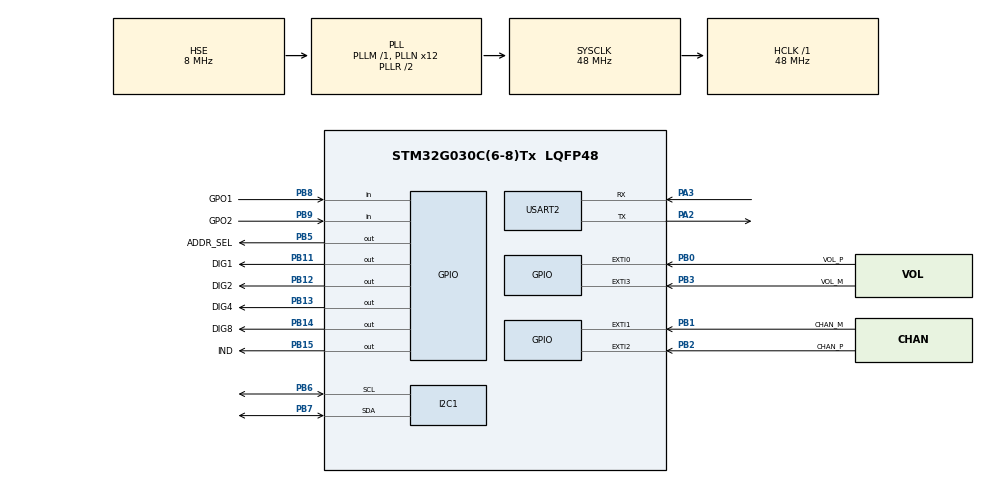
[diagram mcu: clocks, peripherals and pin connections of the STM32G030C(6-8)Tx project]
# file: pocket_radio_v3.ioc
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I2C1.Timing=0x10805D88
Mcu.Family=STM32G0
Mcu.Name=STM32G030C(6-8)Tx
Mcu.Package=LQFP48
NVIC.EXTI0_1_IRQn=true\:0\:0\:false\:false\:true\:true\:true\:true
NVIC.EXTI2_3_IRQn=true\:0\:0\:false\:false\:true\:true\:true\:true
PA0.Signal=USART2_CTS
PA1.Signal=USART2_RTS
PA13.Mode=Serial_Wire
PA13.Signal=SYS_SWDIO
PA14-BOOT0.Mode=Serial_Wire
PA14-BOOT0.Signal=SYS_SWCLK
PA2.Mode=Asynchronous
PA2.Signal=USART2_TX
PA3.Mode=Asynchronous
PA3.Signal=USART2_RX
PB0.GPIO_Label=VOL_P
PB0.GPIO_ModeDefaultEXTI=GPIO_MODE_IT_FALLING
PB0.GPIO_PuPd=GPIO_PULLUP
PB0.Signal=GPXTI0
PB1.GPIO_Label=CHAN_M
PB1.GPIO_ModeDefaultEXTI=GPIO_MODE_IT_FALLING
PB1.GPIO_PuPd=GPIO_PULLUP
PB1.Signal=GPXTI1
PB11.GPIO_Label=DIG1
PB11.Signal=GPIO_Output
PB12.GPIO_Label=DIG2
PB12.Signal=GPIO_Output
PB13.GPIO_Label=DIG4
PB13.Signal=GPIO_Output
PB14.GPIO_Label=DIG8
PB14.Signal=GPIO_Output
PB15.GPIO_Label=IND
PB15.Signal=GPIO_Output
PB2.GPIO_Label=CHAN_P
PB2.GPIO_ModeDefaultEXTI=GPIO_MODE_IT_FALLING
PB2.GPIO_PuPd=GPIO_PULLUP
PB2.Signal=GPXTI2
PB3.GPIO_Label=VOL_M
PB3.GPIO_ModeDefaultEXTI=GPIO_MODE_IT_FALLING
PB3.GPIO_PuPd=GPIO_PULLUP
PB3.Signal=GPXTI3
PB5.GPIO_Label=ADDR_SEL
PB5.GPIO_PuPd=GPIO_PULLDOWN
PB5.Signal=GPIO_Output
PB6.Mode=I2C
PB6.Signal=I2C1_SCL
PB7.Mode=I2C
PB7.Signal=I2C1_SDA
PB8.GPIO_Label=GPO1
PB8.Signal=GPIO_Input
PB9.GPIO_Label=GPO2
PB9.Signal=GPIO_Input
PF0-OSC_IN\ (PF0).Mode=HSE-External-Oscillator
PF0-OSC_IN\ (PF0).Signal=RCC_OSC_IN
PF1-OSC_OUT\ (PF1).Mode=HSE-External-Oscillator
PF1-OSC_OUT\ (PF1).Signal=RCC_OSC_OUT
ProjectManager.HeapSize=0x200
ProjectManager.StackSize=0x400
ProjectManager.TargetToolchain=STM32CubeIDE
RCC.ADCFreq_Value=48000000
RCC.AHBFreq_Value=48000000
RCC.CortexFreq_Value=48000000
RCC.EXTERNAL_CLOCK_VALUE=12288000
RCC.HCLKFreq_Value=48000000
RCC.HSE_VALUE=8000000
RCC.HSI_VALUE=16000000
RCC.LSE_VALUE=32768
RCC.PLLN=12
RCC.PLLSourceVirtual=RCC_PLLSOURCE_HSE
RCC.SYSCLKFreq_VALUE=48000000
RCC.SYSCLKSource=RCC_SYSCLKSOURCE_PLLCLK
RCC.VCOOutputFreq_Value=96000000
USART2.VirtualMode-Asynchronous=VM_ASYNC
board=custom

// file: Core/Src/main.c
/* USER CODE BEGIN Header */
/**
  ******************************************************************************
  * @file           : main.c
  * @brief          : Main program body
  ******************************************************************************
  * @attention
  *
  * Copyright (c) 2025 STMicroelectronics.
  * All rights reserved.
  *
  * This software is licensed under terms that can be found in the LICENSE file
  * in the root directory of this software component.
  * If no LICENSE file comes with this software, it is provided AS-IS.
  *
  ******************************************************************************
  */
/* USER CODE END Header */
#include "main.h"

/* USER CODE BEGIN Includes */
#include <stdio.h>
#include <string.h>
/* USER CODE END Includes */

/* USER CODE BEGIN PD */
#define ADDR 0x22
/* USER CODE END PD */

I2C_HandleTypeDef hi2c1;

UART_HandleTypeDef huart2;

/* USER CODE BEGIN PV */
volatile uint16_t volume = 0x001E;

/* USER CODE END PV */

void SystemClock_Config(void);
static void MX_GPIO_Init(void);
static void MX_I2C1_Init(void);
static void MX_USART2_UART_Init(void);
/* USER CODE BEGIN PFP */
void Print_UART(char *str);
void Power_Up(void);
void Get_Rev(void);
void Set_Property(uint16_t property, uint16_t value);
void Get_Property(void);
void Tune_Freq(uint16_t channel);
void Tune_Status(void);
void Seek_Start(uint8_t up);
void GPIO_Ctl(void);
void GPIO_Set(void);
uint8_t Read_Status(void);
void Wait_For_CTS(void);
/* USER CODE END PFP */

/* USER CODE BEGIN 0 */
void HAL_GPIO_EXTI_Falling_Callback(uint16_t GPIO_Pin)
{
	if (GPIO_Pin == CHAN_M_Pin)
	{
		Seek_Start(0);   // Seek down
	}
	else if (GPIO_Pin == CHAN_P_Pin)
	{
		Seek_Start(1);   // Seek up
	}
	else if (GPIO_Pin == VOL_M_Pin)
	{
		volume -= 5;
		if (volume < 5)
		{
			volume = 5;
		}
		// RX_VOLUME 0x4000 allowed 0-63, set to volume
	    Set_Property(0x4000, volume);
	}
	else if (GPIO_Pin == VOL_P_Pin)
	{
		volume += 5;
		if (volume > 60)
		{
			volume = 60;
		}
		// RX_VOLUME 0x4000 allowed 0-63, set to volume
		Set_Property(0x4000, volume);
	}
}
/* USER CODE END 0 */

int main(void)
{

  /* MCU Configuration--------------------------------------------------------*/

  /* Reset of all peripherals, Initializes the Flash interface and the Systick. */
  HAL_Init();

  /* Configure the system clock */
  SystemClock_Config();

  /* Initialize all configured peripherals */
  MX_GPIO_Init();
  MX_I2C1_Init();
  MX_USART2_UART_Init();

  /* Infinite loop */
  /* USER CODE BEGIN WHILE */
  while (1)
  {
	  HAL_GPIO_WritePin(GPIOB, IND_Pin, GPIO_PIN_SET);
	  HAL_Delay(1000);

	  char msg[64];
	  sprintf(msg, "I'M ALIVEEEE\r\n");
	  Print_UART(msg);

	  Power_Up();
	  Get_Rev();

	  // Set GPOs low to avoid oscillation and excessivie current consumption
	  GPIO_Ctl();
	  GPIO_Set();

	  // RX_VOLUME 0x4000 allowed 0-63, set to 30 (0x001E)
	  Set_Property(0x4000, 0x001E);
	  HAL_Delay(100);

	  // FM_ANTENNA_INPUT 0x1107 0x0001 (LPI antenna input)
	  Set_Property(0x1107, 0x0001);
	  HAL_Delay(100);

	  Tune_Freq(10350);
	  Tune_Status();

	  while (1)
	  {
		  HAL_Delay(10000);
	  }

    /* USER CODE END WHILE */

  }
}

void SystemClock_Config(void)
{
  RCC_OscInitTypeDef RCC_OscInitStruct = {0};
  RCC_ClkInitTypeDef RCC_ClkInitStruct = {0};

  /** Configure the main internal regulator output voltage
  */
  HAL_PWREx_ControlVoltageScaling(PWR_REGULATOR_VOLTAGE_SCALE1);

  /** Initializes the RCC Oscillators according to the specified parameters
  * in the RCC_OscInitTypeDef structure.
  */
  RCC_OscInitStruct.OscillatorType = RCC_OSCILLATORTYPE_HSE;
  RCC_OscInitStruct.HSEState = RCC_HSE_ON;
  RCC_OscInitStruct.PLL.PLLState = RCC_PLL_ON;
  RCC_OscInitStruct.PLL.PLLSource = RCC_PLLSOURCE_HSE;
  RCC_OscInitStruct.PLL.PLLM = RCC_PLLM_DIV1;
  RCC_OscInitStruct.PLL.PLLN = 12;
  RCC_OscInitStruct.PLL.PLLP = RCC_PLLP_DIV2;
  RCC_OscInitStruct.PLL.PLLR = RCC_PLLR_DIV2;
  if (HAL_RCC_OscConfig(&RCC_OscInitStruct) != HAL_OK)
  {
    Error_Handler();
  }

  /** Initializes the CPU, AHB and APB buses clocks
  */
  RCC_ClkInitStruct.ClockType = RCC_CLOCKTYPE_HCLK|RCC_CLOCKTYPE_SYSCLK
                              |RCC_CLOCKTYPE_PCLK1;
  RCC_ClkInitStruct.SYSCLKSource = RCC_SYSCLKSOURCE_PLLCLK;
  RCC_ClkInitStruct.AHBCLKDivider = RCC_SYSCLK_DIV1;
  RCC_ClkInitStruct.APB1CLKDivider = RCC_HCLK_DIV1;

  if (HAL_RCC_ClockConfig(&RCC_ClkInitStruct, FLASH_LATENCY_1) != HAL_OK)
  {
    Error_Handler();
  }
}

static void MX_I2C1_Init(void)
{

  hi2c1.Instance = I2C1;
  hi2c1.Init.Timing = 0x10805D88;
  hi2c1.Init.OwnAddress1 = 0;
  hi2c1.Init.AddressingMode = I2C_ADDRESSINGMODE_7BIT;
  hi2c1.Init.DualAddressMode = I2C_DUALADDRESS_DISABLE;
  hi2c1.Init.OwnAddress2 = 0;
  hi2c1.Init.OwnAddress2Masks = I2C_OA2_NOMASK;
  hi2c1.Init.GeneralCallMode = I2C_GENERALCALL_DISABLE;
  hi2c1.Init.NoStretchMode = I2C_NOSTRETCH_DISABLE;
  if (HAL_I2C_Init(&hi2c1) != HAL_OK)
  {
    Error_Handler();
  }

  /** Configure Analogue filter
  */
  if (HAL_I2CEx_ConfigAnalogFilter(&hi2c1, I2C_ANALOGFILTER_ENABLE) != HAL_OK)
  {
    Error_Handler();
  }

  /** Configure Digital filter
  */
  if (HAL_I2CEx_ConfigDigitalFilter(&hi2c1, 0) != HAL_OK)
  {
    Error_Handler();
  }

}

static void MX_USART2_UART_Init(void)
{

  huart2.Instance = USART2;
  huart2.Init.BaudRate = 115200;
  huart2.Init.WordLength = UART_WORDLENGTH_8B;
  huart2.Init.StopBits = UART_STOPBITS_1;
  huart2.Init.Parity = UART_PARITY_NONE;
  huart2.Init.Mode = UART_MODE_TX_RX;
  huart2.Init.HwFlowCtl = UART_HWCONTROL_NONE;
  huart2.Init.OverSampling = UART_OVERSAMPLING_16;
  huart2.Init.OneBitSampling = UART_ONE_BIT_SAMPLE_DISABLE;
  huart2.Init.ClockPrescaler = UART_PRESCALER_DIV1;
  huart2.AdvancedInit.AdvFeatureInit = UART_ADVFEATURE_NO_INIT;
  if (HAL_UART_Init(&huart2) != HAL_OK)
  {
    Error_Handler();
  }

}

static void MX_GPIO_Init(void)
{
  GPIO_InitTypeDef GPIO_InitStruct = {0};

  /* GPIO Ports Clock Enable */
  __HAL_RCC_GPIOF_CLK_ENABLE();
  __HAL_RCC_GPIOA_CLK_ENABLE();
  __HAL_RCC_GPIOB_CLK_ENABLE();

  /*Configure GPIO pin Output Level */
  HAL_GPIO_WritePin(GPIOB, DIG1_Pin|DIG2_Pin|DIG4_Pin|DIG8_Pin
                          |IND_Pin|ADDR_SEL_Pin, GPIO_PIN_RESET);

  /*Configure GPIO pins : VOL_P_Pin CHAN_M_Pin CHAN_P_Pin VOL_M_Pin */
  GPIO_InitStruct.Pin = VOL_P_Pin|CHAN_M_Pin|CHAN_P_Pin|VOL_M_Pin;
  GPIO_InitStruct.Mode = GPIO_MODE_IT_FALLING;
  GPIO_InitStruct.Pull = GPIO_PULLUP;
  HAL_GPIO_Init(GPIOB, &GPIO_InitStruct);

  /*Configure GPIO pins : DIG1_Pin DIG2_Pin DIG4_Pin DIG8_Pin
                           IND_Pin */
  GPIO_InitStruct.Pin = DIG1_Pin|DIG2_Pin|DIG4_Pin|DIG8_Pin
                          |IND_Pin;
  GPIO_InitStruct.Mode = GPIO_MODE_OUTPUT_PP;
  GPIO_InitStruct.Pull = GPIO_NOPULL;
  GPIO_InitStruct.Speed = GPIO_SPEED_FREQ_LOW;
  HAL_GPIO_Init(GPIOB, &GPIO_InitStruct);

  /*Configure GPIO pin : ADDR_SEL_Pin */
  GPIO_InitStruct.Pin = ADDR_SEL_Pin;
  GPIO_InitStruct.Mode = GPIO_MODE_OUTPUT_PP;
  GPIO_InitStruct.Pull = GPIO_PULLDOWN;
  GPIO_InitStruct.Speed = GPIO_SPEED_FREQ_LOW;
  HAL_GPIO_Init(ADDR_SEL_GPIO_Port, &GPIO_InitStruct);

  /*Configure GPIO pins : GPO1_Pin GPO2_Pin */
  GPIO_InitStruct.Pin = GPO1_Pin|GPO2_Pin;
  GPIO_InitStruct.Mode = GPIO_MODE_INPUT;
  GPIO_InitStruct.Pull = GPIO_NOPULL;
  HAL_GPIO_Init(GPIOB, &GPIO_InitStruct);

  /* EXTI interrupt init*/
  HAL_NVIC_SetPriority(EXTI0_1_IRQn, 0, 0);
  HAL_NVIC_EnableIRQ(EXTI0_1_IRQn);

  HAL_NVIC_SetPriority(EXTI2_3_IRQn, 0, 0);
  HAL_NVIC_EnableIRQ(EXTI2_3_IRQn);

}

/* USER CODE BEGIN 4 */
void Print_UART(char *str)
{
  HAL_UART_Transmit(&huart2, (uint8_t*)str, strlen(str), HAL_MAX_DELAY);
}

/*
* CMD 0x01 (POWER_UP)
* ARG1 0x10
* 	CTSIEN 0 (disable interrupt)
* 	GPO2OEN 0 (disable GPO2)
* 	PATCH 0 (boot normally)
* 	XOSCEN 1 (use crystal oscillator)
* 	FUNC 0 (FM receive)
* ARG2 0x05 (00000101 analog audio output)
*/
void Power_Up(void)
{
  uint8_t cmd[3] = {0x01, 0x10, 0x05};  // CMD, ARG1, ARG2
  HAL_I2C_Master_Transmit(&hi2c1, ADDR, cmd, sizeof(cmd), HAL_MAX_DELAY);
  HAL_Delay(100);  // wait for CTS to go high hopefully
}

/*
* CMD 0x10 (GET_REV)
* Response: STATUS + 15 bytes
*/
void Get_Rev(void)
{
  uint8_t cmd = 0x10;
  uint8_t resp[16] = {0};

  HAL_I2C_Master_Transmit(&hi2c1, ADDR, &cmd, 1, HAL_MAX_DELAY);

  HAL_Delay(100); // Hopefully CTS set by now

  HAL_I2C_Master_Receive(&hi2c1, ADDR, resp, 16, HAL_MAX_DELAY);

  char msg[64];
  sprintf(msg, "STATUS: 0x%02X\r\n", resp[0]);
  Print_UART(msg);
  sprintf(msg, "Part Number: %d\r\n", resp[1]);
  Print_UART(msg);
  sprintf(msg, "FW Major: %d\r\n", resp[2]);
  Print_UART(msg);
  sprintf(msg, "FW Minor: %d\r\n", resp[3]);
  int patchID = (resp[4] << 8) | resp[5];
  sprintf(msg, "Patch ID: %d\r\n", patchID);
  Print_UART(msg);
  sprintf(msg, "Comp Major: %d\r\n", resp[6]);
  Print_UART(msg);
  sprintf(msg, "Comp Minor: %d\r\n", resp[7]);
  Print_UART(msg);
  sprintf(msg, "Chip Rev: %d\r\n", resp[8]);
  Print_UART(msg);
}

/*
* CMD 0x12 (SET_PROPERTY)
* ARG1 0x00
* ARG2 (property high byte)
* ARG3 (property low byte)
* ARG4 (value high byte)
* ARG5(value low byte)
*
* Properties:
* 	FM_ANTENNA_INPUT 0x1107 0x0001 (LPI antenna input)
* 	RX_VOLUME 0x4000 0-63 (dec)
*/
void Set_Property(uint16_t property, uint16_t value)
{
  uint8_t cmd[6] = {0x12, 0x00, (property >> 8) & 0xFF, property & 0xFF, (value >> 8) & 0xFF, value & 0xFF};
  HAL_I2C_Master_Transmit(&hi2c1, ADDR, cmd, sizeof(cmd), HAL_MAX_DELAY);
//  HAL_Delay(100);
}

void Get_Property(void)
{
  // TODO
}

/*
* CMD 0x20 (FM_TUNE_FREQ)
* ARG1 0x00
* 	FREEZE 0 (bit 1)
* 	FAST 0 (bit 0)
* ARG2 (channel high byte)
* ARG3 (channel low byte)
* ARG4 0x00 (set antenna tuning cap automatically)
*
* @param channel in 10kHz units from 64-108MHz
*/
void Tune_Freq(uint16_t channel)
{
  uint8_t FREQ_H = (channel >> 8) & 0xFF;
  uint8_t FREQ_L = channel & 0xFF;
  uint8_t cmd[5] = {0x20, 0x00, FREQ_H, FREQ_L, 0x00};
  HAL_I2C_Master_Transmit(&hi2c1, ADDR, cmd, sizeof(cmd), HAL_MAX_DELAY);
  HAL_Delay(100);
}

/*
* CMD 0x22
* ARG1 0x00
* 	CANCEL 0 (don't cancel seek) (bit 1)
* 	INTACK 0 (don't clear seek/tune interrupt status indicator) (bit 0)
*/
void Tune_Status(void)
{
  uint8_t cmd[2] = {0x22, 0x00};
  HAL_I2C_Master_Transmit(&hi2c1, ADDR, cmd, sizeof(cmd), HAL_MAX_DELAY);
  HAL_Delay(100);

  uint8_t resp[8] = {0};
  HAL_I2C_Master_Receive(&hi2c1, ADDR, resp, 8, HAL_MAX_DELAY);

  char msg[64];
  sprintf(msg, "RESP1: 0x%02X\r\n", resp[1]);
  Print_UART(msg);
  int freq = (resp[2] << 8) | resp[3];
  sprintf(msg, "Read frequency: %d\r\n", freq);
  Print_UART(msg);
  sprintf(msg, "RSSI: %d\r\n", resp[4]);
  Print_UART(msg);
  sprintf(msg, "SNR: %d\r\n", resp[5]);
  Print_UART(msg);
  sprintf(msg, "READANTCAP: %d\r\n", resp[7]);
  Print_UART(msg);
}

/*
 * CMD 0x21 (FM_SEEK_START)
 * ARG1 0x0C
 *	 SEEKUP 1 (bit 3)
 *	 WRAP 1 (bit 2)
 *
 * @param up: 1 to seek up, 0 to seek down
 */
void Seek_Start(uint8_t up)
{
    uint8_t arg1 = 0x04;
    if (up) {
        arg1 |= 0x08;
    }

	uint8_t cmd[2] = {0x21, arg1};
	HAL_I2C_Master_Transmit(&hi2c1, ADDR, cmd, sizeof(cmd), HAL_MAX_DELAY);

//	char msg[64];
//	sprintf(msg, "Seeking...\r\n");
//	Print_UART(msg);
}

/*
 * CMD 0x80
 * ARG1 0x06
 *   GPO3EN 0
 *   GPO2EN 1
 *   GPO1EN 1
 *
 * Note: GPO3 is overridden by DCLK.
 * The other two should be drive low to avoid oscillation.
 */
void GPIO_Ctl(void)
{
	uint8_t cmd[2] = {0x80, 0x06};
	HAL_I2C_Master_Transmit(&hi2c1, ADDR, cmd, sizeof(cmd), HAL_MAX_DELAY);
	HAL_Delay(100);
}

/*
 * CMD 0x81
 * ARG1 0x00
 *   GPO3LEVEL 0
 *   GPO2LEVEL 0
 *   GPO1LEVEL 0
 */
void GPIO_Set(void)
{
	uint8_t cmd[2] = {0x81, 0x00};
	HAL_I2C_Master_Transmit(&hi2c1, ADDR, cmd, sizeof(cmd), HAL_MAX_DELAY);
	HAL_Delay(100);
}

uint8_t Read_Status(void)
{
  uint8_t status = 0;
  HAL_I2C_Master_Receive(&hi2c1, ADDR, &status, 1, HAL_MAX_DELAY);
  return status;
}

void Wait_For_CTS(void)
{
  uint8_t status;
  do {
	  status = Read_Status();
	  HAL_Delay(100);
  } while ((status & 0x80) == 0); // While CTS bit low

  // Print status
  char msg[32];
  sprintf(msg, "CTS high, STATUS = 0x%02X\r\n", status);
  Print_UART(msg);
}

/* USER CODE END 4 */

void Error_Handler(void)
{
  __disable_irq();
  while (1)
  {
  }
}
